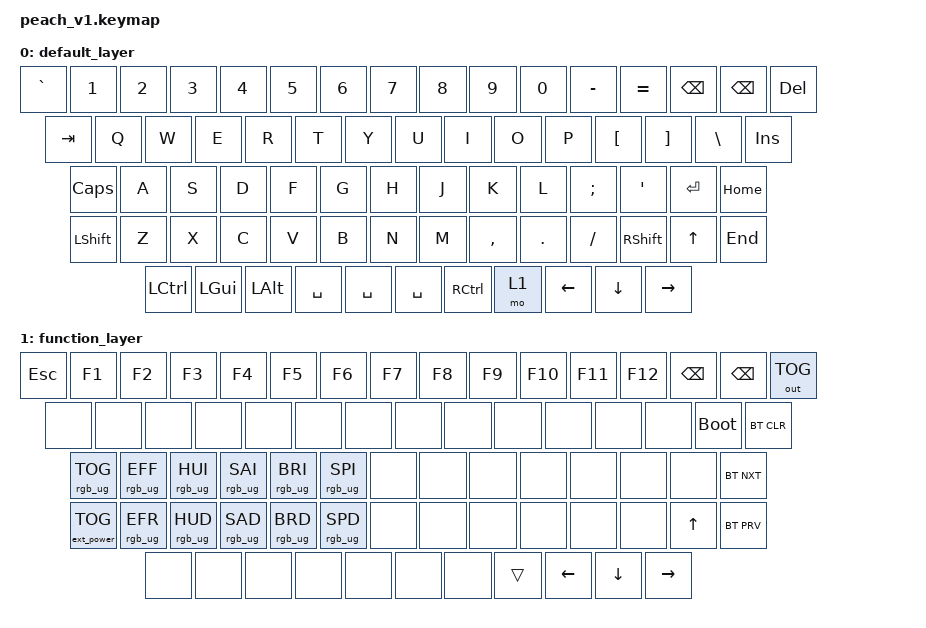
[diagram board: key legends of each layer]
/*
# Copyright (c) 2021 The ZMK Contributors
*
* SPDX-License-Identifier: MIT
*/

#include <behaviors.dtsi>
#include <dt-bindings/zmk/keys.h>
#include <dt-bindings/zmk/rgb.h>
#include <dt-bindings/zmk/bt.h>
#include <dt-bindings/zmk/outputs.h>
#include <dt-bindings/zmk/ext_power.h>

/ {
	keymap {
		compatible = "zmk,keymap";

		default_layer {
				    /* Base layer
                         * ┌───┬───┬───┬───┬───┬───┬───┬───┬───┬───┬───┬───┬───┬────┬────┬────┐
                         * │ ` │ 1 │ 2 │ 3 │ 4 │ 5 │ 6 │ 7 │ 8 │ 9 │ 0 │ - │ = │BSPC│BSPC│Del │
                         * ├───┴─┬─┴─┬─┴─┬─┴─┬─┴─┬─┴─┬─┴─┬─┴─┬─┴─┬─┴─┬─┴─┬─┴─┬─┴─┬──┴────┼────┤
                         * │ Tab │ Q │ W │ E │ R │ T │ Y │ U │ I │ O │ P │ [ │ ] │  \    │Ins │
                         * ├─────┴┬──┴┬──┴┬──┴┬──┴┬──┴┬──┴┬──┴┬──┴┬──┴┬──┴┬──┴┬──┴───────┼────┤
                         * │  Cap │ A │ S │ D │ F │ G │ H │ J │ K │ L │ ; │ ' │ Enter    │Home│
                         * ├──────┴─┬─┴─┬─┴─┬─┴─┬─┴─┬─┴─┬─┴─┬─┴─┬─┴─┬─┴─┬─┴─┬─┴─────┬────┼────┤
                         * │ LShift │ Z │ X │ C │ V │ B │ N │ M │ , │ . │ / │RShift │ ↑  │End │
                         * ├────┬───┴┬──┴─┬─┴───┴─┬─┴───┴─┬─┴───┴──┬┴───┼───┴┬─┬────┼────┼────┤
                         * │LCtl│LGui│LAlt│ Space │ Space │ Space  │RCtl│Fn 1│ │ ←  │ ↓  │  → │
                         * └────┴────┴────┴───────┴───────┴────────┴────┴────┘ └────┴────┴────┘
                    */
			bindings = <
			     &kp GRAVE &kp N1 &kp N2 &kp N3 &kp N4 &kp N5 &kp N6 &kp N7 &kp N8 &kp N9 &kp N0 &kp MINUS &kp EQUAL  &kp BSPC  &kp BSPC    &kp DEL
			     &kp TAB      &kp Q   &kp W  &kp E  &kp R  &kp T  &kp Y  &kp U  &kp I  &kp O  &kp P   &kp LBKT  &kp RBKT  &kp BSLH          &kp INS
			     &kp CAPS       &kp A  &kp S  &kp D  &kp F  &kp G  &kp H  &kp J  &kp K  &kp L  &kp SEMI   &kp APOS     &kp ENTER            &kp HOME
			     &kp LSHIFT       &kp Z  &kp X  &kp C  &kp V  &kp B  &kp N  &kp M  &kp COMMA  &kp PERIOD  &kp SLASH  &kp RSHIFT  &kp UP     &kp END
			     &kp LCTRL  &kp LGUI  &kp LALT     &kp SPACE       &kp SPACE       &kp SPACE     &kp RCTRL  &mo 1     &kp LEFT   &kp DOWN   &kp RIGHT
			>;
		};
		function_layer {
				    /* Function layer
                         * ┌───┬────┬────┬────┬────┬────┬────┬────┬────┬───┬────┬────┬─────┬────┬────┬───────┐
                         * │ESC│ F1 │ F2 │ F3 │ F4 │ F5 │ F6 │ F7 │ F8 │F9 │ F10│ F11│ F12 │BSPC│BSPC│OUT TOG│
                         * ├───┴─┬──┴─┬──┴─┬──┴─┬──┴─┬──┴─┬──┴─┬──┴─┬──┴─┬─┴──┬─┴──┬─┴──┬──┴─┬──┴────┼───────┤
                         * │     │    │    │    │    │    │    │    │    │    │    │    │    │  DFU  │BT CLR │
                         * ├─────┴┬───┴┬───┴┬───┴┬───┴┬───┴┬───┴┬───┴┬───┴┬───┴┬───┴┬───┴┬───┴───────┼───────┤
                         * │RGBTOG│Mod+│Hue+│Sad+│Bri+│Eff+│    │    │    │    │    │    │           │BT NXT │
                         * ├──────┴─┬──┴─┬──┴─┬──┴─┬──┴─┬──┴─┬──┴─┬──┴─┬──┴─┬──┴─┬──┴─┬──┴──────┬────┼───────┤
                         * │POWERTOG│Mod-│Hue-│Sad-│Bri-│Eff-│    │    │    │    │    │         │ ↑  │BT PRV │
                         * ├────┬───┴┬───┴─┬──┴────┴─┬──┴────┴─┬──┴────┴──┬─┴────┼────┴┬───┬────┼────┼───────┤
                         * │    │    │     │         │         │          │      │Fn 1 │   │ ←  │ ↓  │   →   │
                         * └────┴────┴─────┴─────────┴─────────┴──────────┴──────┴─────┘   └────┴────┴───────┘
                    */
			bindings = <
			     &kp ESC    &kp F1   &kp F2   &kp F3   &kp F4   &kp F5   &kp F6   &kp F7   &kp F8   &kp F9   &kp F10   &kp F11   &kp F12     &kp BSPC     &kp BSPC      &out OUT_TOG
			     &none          &none    &none    &none    &none    &none    &none    &none    &none    &none     &none     &none      &none          &bootloader       &bt BT_CLR
			     &rgb_ug RGB_TOG &rgb_ug RGB_EFF &rgb_ug RGB_HUI &rgb_ug RGB_SAI &rgb_ug RGB_BRI &rgb_ug RGB_SPI  &none   &none   &none  &none  &none   &none  &none    &bt BT_NXT
			     &ext_power EP_TOG &rgb_ug RGB_EFR &rgb_ug RGB_HUD &rgb_ug RGB_SAD &rgb_ug RGB_BRD &rgb_ug RGB_SPD &none  &none  &none    &none   &none &none  &kp UP   &bt BT_PRV
			     &none         &none        &none            &none               &none               &none            &none         &trans          &kp LEFT   &kp DOWN &kp RIGHT
			>;
		};
	};
};
